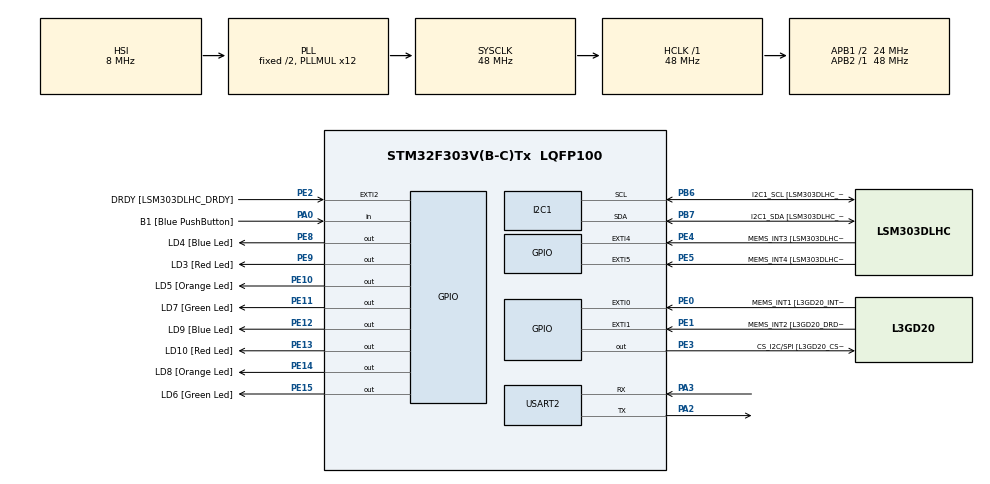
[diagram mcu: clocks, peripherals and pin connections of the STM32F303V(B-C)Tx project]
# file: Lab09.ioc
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I2C1.Timing=0x00201D2B
Mcu.Family=STM32F3
Mcu.Name=STM32F303V(B-C)Tx
Mcu.Package=LQFP100
NVIC.PriorityGroup=NVIC_PRIORITYGROUP_0
PA0.GPIO_Label=B1 [Blue PushButton]
PA0.GPIO_Mode=GPIO_MODE_INPUT
PA0.GPIO_PuPd=GPIO_NOPULL
PA0.Signal=GPIO_Input
PA11.GPIO_Label=DM
PA11.Signal=USB_DM
PA12.GPIO_Label=DP
PA12.Signal=USB_DP
PA13.GPIO_Label=SWDIO
PA13.Signal=SYS_JTMS-SWDIO
PA14.GPIO_Label=SWCLK
PA14.Signal=SYS_JTCK-SWCLK
PA2.Mode=Asynchronous
PA2.Signal=USART2_TX
PA3.Mode=Asynchronous
PA3.Signal=USART2_RX
PA5.GPIO_Label=SPI1_SCK [L3GD20_SCL/SPC]
PA5.GPIO_Mode=GPIO_MODE_AF_PP
PA5.GPIO_PuPd=GPIO_NOPULL
PA5.GPIO_Speed=GPIO_SPEED_FREQ_LOW
PA5.Signal=SPI1_SCK
PA6.GPIO_Label=SPI1_MISO [L3GD20_SA0/SDO]
PA6.GPIO_Mode=GPIO_MODE_AF_PP
PA6.GPIO_PuPd=GPIO_NOPULL
PA6.GPIO_Speed=GPIO_SPEED_FREQ_LOW
PA6.Signal=SPI1_MISO
PA7.GPIO_Label=SPI1_MISO [L3GD20_SDA/SDI/SDO]
PA7.GPIO_Mode=GPIO_MODE_AF_PP
PA7.GPIO_PuPd=GPIO_NOPULL
PA7.GPIO_Speed=GPIO_SPEED_FREQ_LOW
PA7.Signal=SPI1_MOSI
PB3.GPIO_Label=SWO
PB3.Signal=SYS_JTDO-TRACESWO
PB6.GPIO_FM6=__NULL
PB6.GPIO_Label=I2C1_SCL [LSM303DLHC_SCL]
PB6.GPIO_Mode=GPIO_MODE_AF_OD
PB6.GPIO_PuPd=GPIO_NOPULL
PB6.GPIO_Speed=GPIO_SPEED_FREQ_LOW
PB6.Mode=I2C
PB6.Signal=I2C1_SCL
PB7.GPIO_FM7=__NULL
PB7.GPIO_Label=I2C1_SDA [LSM303DLHC_SDA]
PB7.GPIO_Mode=GPIO_MODE_AF_OD
PB7.GPIO_PuPd=GPIO_NOPULL
PB7.GPIO_Speed=GPIO_SPEED_FREQ_LOW
PB7.Mode=I2C
PB7.Signal=I2C1_SDA
PC14-OSC32_IN.GPIO_Label=OSC32_IN
PC14-OSC32_IN.Signal=RCC_OSC32_IN
PC15-OSC32_OUT.GPIO_Label=OSC32_OUT
PC15-OSC32_OUT.Signal=RCC_OSC32_OUT
PE0.GPIO_Label=MEMS_INT1 [L3GD20_INT1]
PE0.GPIO_ModeDefaultEXTI=GPIO_MODE_EVT_RISING
PE0.GPIO_PuPd=GPIO_NOPULL
PE0.Signal=GPXTI0
PE1.GPIO_Label=MEMS_INT2 [L3GD20_DRDY/INT2]
PE1.GPIO_ModeDefaultEXTI=GPIO_MODE_EVT_RISING
PE1.GPIO_PuPd=GPIO_NOPULL
PE1.Signal=GPXTI1
PE10.GPIO_Label=LD5 [Orange Led]
PE10.GPIO_ModeDefaultOutputPP=GPIO_MODE_OUTPUT_PP
PE10.GPIO_PuPd=GPIO_NOPULL
PE10.GPIO_Speed=GPIO_SPEED_FREQ_LOW
PE10.Signal=GPIO_Output
PE11.GPIO_Label=LD7 [Green Led]
PE11.GPIO_ModeDefaultOutputPP=GPIO_MODE_OUTPUT_PP
PE11.GPIO_PuPd=GPIO_NOPULL
PE11.GPIO_Speed=GPIO_SPEED_FREQ_LOW
PE11.Signal=GPIO_Output
PE12.GPIO_Label=LD9 [Blue Led]
PE12.GPIO_ModeDefaultOutputPP=GPIO_MODE_OUTPUT_PP
PE12.GPIO_PuPd=GPIO_NOPULL
PE12.GPIO_Speed=GPIO_SPEED_FREQ_LOW
PE12.Signal=GPIO_Output
PE13.GPIO_Label=LD10 [Red Led]
PE13.GPIO_ModeDefaultOutputPP=GPIO_MODE_OUTPUT_PP
PE13.GPIO_PuPd=GPIO_NOPULL
PE13.GPIO_Speed=GPIO_SPEED_FREQ_LOW
PE13.Signal=GPIO_Output
PE14.GPIO_Label=LD8 [Orange Led]
PE14.GPIO_ModeDefaultOutputPP=GPIO_MODE_OUTPUT_PP
PE14.GPIO_PuPd=GPIO_NOPULL
PE14.GPIO_Speed=GPIO_SPEED_FREQ_LOW
PE14.Signal=GPIO_Output
PE15.GPIO_Label=LD6 [Green Led]
PE15.GPIO_ModeDefaultOutputPP=GPIO_MODE_OUTPUT_PP
PE15.GPIO_PuPd=GPIO_NOPULL
PE15.GPIO_Speed=GPIO_SPEED_FREQ_LOW
PE15.Signal=GPIO_Output
PE2.GPIO_Label=DRDY [LSM303DLHC_DRDY]
PE2.GPIO_ModeDefaultEXTI=GPIO_MODE_EVT_RISING
PE2.GPIO_PuPd=GPIO_NOPULL
PE2.Signal=GPXTI2
PE3.GPIO_Label=CS_I2C/SPI [L3GD20_CS_I2C/SPI]
PE3.GPIO_ModeDefaultOutputPP=GPIO_MODE_OUTPUT_PP
PE3.GPIO_PuPd=GPIO_NOPULL
PE3.GPIO_Speed=GPIO_SPEED_FREQ_LOW
PE3.Signal=GPIO_Output
PE4.GPIO_Label=MEMS_INT3 [LSM303DLHC_INT1]
PE4.GPIO_ModeDefaultEXTI=GPIO_MODE_EVT_RISING
PE4.GPIO_PuPd=GPIO_NOPULL
PE4.Signal=GPXTI4
PE5.GPIO_Label=MEMS_INT4 [LSM303DLHC_INT2]
PE5.GPIO_ModeDefaultEXTI=GPIO_MODE_EVT_RISING
PE5.GPIO_PuPd=GPIO_NOPULL
PE5.Signal=GPXTI5
PE8.GPIO_Label=LD4 [Blue Led]
PE8.GPIO_ModeDefaultOutputPP=GPIO_MODE_OUTPUT_PP
PE8.GPIO_PuPd=GPIO_NOPULL
PE8.GPIO_Speed=GPIO_SPEED_FREQ_LOW
PE8.Signal=GPIO_Output
PE9.GPIO_Label=LD3 [Red Led]
PE9.GPIO_ModeDefaultOutputPP=GPIO_MODE_OUTPUT_PP
PE9.GPIO_PuPd=GPIO_NOPULL
PE9.GPIO_Speed=GPIO_SPEED_FREQ_LOW
PE9.Signal=GPIO_Output
PF0-OSC_IN.GPIO_Label=OSC_IN
PF0-OSC_IN.Signal=RCC_OSC_IN
PF1-OSC_OUT.GPIO_Label=OSC_OUT
PF1-OSC_OUT.Signal=RCC_OSC_OUT
ProjectManager.HeapSize=0x200
ProjectManager.StackSize=0x400
ProjectManager.TargetToolchain=CMake
RCC.AHBFreq_Value=48000000
RCC.APB1CLKDivider=RCC_HCLK_DIV2
RCC.APB1Freq_Value=24000000
RCC.APB1TimFreq_Value=48000000
RCC.APB2Freq_Value=48000000
RCC.APB2TimFreq_Value=48000000
RCC.CortexFreq_Value=48000000
RCC.HCLKFreq_Value=48000000
RCC.HSE_VALUE=8000000
RCC.HSI_VALUE=8000000
RCC.LSE_VALUE=32768
RCC.PLLMUL=RCC_PLL_MUL12
RCC.SYSCLKFreq_VALUE=48000000
RCC.SYSCLKSourceVirtual=RCC_SYSCLKSOURCE_PLLCLK
RCC.USBFreq_Value=48000000
USART2.VirtualMode-Asynchronous=VM_ASYNC
board=STM32F3DISCOVERY

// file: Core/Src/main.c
/* USER CODE BEGIN Header */
/**
  ******************************************************************************
  * @file           : main.c
  * @brief          : Main program body
  ******************************************************************************
  * @attention
  *
  * Copyright (c) 2026 STMicroelectronics.
  * All rights reserved.
  *
  * This software is licensed under terms that can be found in the LICENSE file
  * in the root directory of this software component.
  * If no LICENSE file comes with this software, it is provided AS-IS.
  *
  ******************************************************************************
  */
/* USER CODE END Header */

#include "main.h"

/* USER CODE BEGIN Includes */
#include <stdio.h>
#include <string.h>
#include <math.h>
/* USER CODE END Includes */

/* USER CODE BEGIN PD */

// ── TASK 2: ACCELEROMETER ────────────────────────────────────────────────────
#define LSM303AGR_ACCEL_ADDR_READ   0x33
#define LSM303AGR_ACCEL_ADDR_WRITE  0x32
#define LSM303AGR_WHO_AM_I_REG      0x0F
#define LSM303AGR_WHO_AM_I_VAL      0x33

// Control registers
#define CTRL_REG1_A   0x20
#define CTRL_REG4_A   0x23

// Accelerometer output registers (auto-increment with bit7=1)
#define OUT_X_L_A     0xA8   // 0x28 | 0x80 for auto-increment

// Scaling
#define ACC_SCALE     3.9f        // mg per LSB in normal mode
#define RAD_TO_DEG    57.2958f
#define CALIB_SAMPLES 20

// Struct to hold all LSM data
typedef struct {
    int16_t raw_ax, raw_ay, raw_az;
    float ax, ay, az;
    float acc_offset_x, acc_offset_y, acc_offset_z;
    float angle_x, angle_y;
} LSM_Data;
// ─────────────────────────────────────────────────────────────────────────────

/* USER CODE END PD */

I2C_HandleTypeDef hi2c1;

UART_HandleTypeDef huart2;

void SystemClock_Config(void);
static void MX_GPIO_Init(void);
static void MX_I2C1_Init(void);
static void MX_USART2_UART_Init(void);

/* USER CODE BEGIN 0 */

// UART redirect
int __io_putchar(int ch)
{
    HAL_UART_Transmit(&huart2, (uint8_t *)&ch, 1, HAL_MAX_DELAY);
    return ch;
}

// ── TASK 2 FUNCTIONS ─────────────────────────────────────────────────────────

void Init_LSM(void)
{
    uint8_t val;

    // Wake up + set ODR to 100Hz, enable X Y Z axes
    val = 0x67;
    HAL_I2C_Mem_Write(&hi2c1, LSM303AGR_ACCEL_ADDR_WRITE,
                      CTRL_REG1_A, I2C_MEMADD_SIZE_8BIT,
                      &val, 1, HAL_MAX_DELAY);

    // Normal mode, ±2g
    val = 0x00;
    HAL_I2C_Mem_Write(&hi2c1, LSM303AGR_ACCEL_ADDR_WRITE,
                      CTRL_REG4_A, I2C_MEMADD_SIZE_8BIT,
                      &val, 1, HAL_MAX_DELAY);

    HAL_Delay(10);
}

void Read_LSM(LSM_Data *data)
{
    uint8_t buf[6];

    // Read all 6 bytes at once using auto-increment (bit7 set)
    HAL_I2C_Mem_Read(&hi2c1, LSM303AGR_ACCEL_ADDR_READ,
                     OUT_X_L_A, I2C_MEMADD_SIZE_8BIT,
                     buf, 6, HAL_MAX_DELAY);

    // Combine high and low bytes
    data->raw_ax = (int16_t)((buf[1] << 8) | buf[0]);
    data->raw_ay = (int16_t)((buf[3] << 8) | buf[2]);
    data->raw_az = (int16_t)((buf[5] << 8) | buf[4]);

    // Right-shift by 6 (10-bit left-justified), scale to g, subtract offset
    data->ax = ((data->raw_ax >> 6) * ACC_SCALE / 1000.0f) - data->acc_offset_x;
    data->ay = ((data->raw_ay >> 6) * ACC_SCALE / 1000.0f) - data->acc_offset_y;
    data->az = ((data->raw_az >> 6) * ACC_SCALE / 1000.0f) - data->acc_offset_z;

    // Tilt angles in degrees
    data->angle_x = atan2f(data->ay, data->az) * RAD_TO_DEG;
    data->angle_y = atan2f(-data->ax,
                    sqrtf(data->ay * data->ay + data->az * data->az)) * RAD_TO_DEG;
}

void Offset_LSM(LSM_Data *data)
{
    float sum_x = 0, sum_y = 0, sum_z = 0;
    uint8_t buf[6];

    for (int i = 0; i < CALIB_SAMPLES; i++)
    {
        HAL_I2C_Mem_Read(&hi2c1, LSM303AGR_ACCEL_ADDR_READ,
                         OUT_X_L_A, I2C_MEMADD_SIZE_8BIT,
                         buf, 6, HAL_MAX_DELAY);

        int16_t rx = (int16_t)((buf[1] << 8) | buf[0]);
        int16_t ry = (int16_t)((buf[3] << 8) | buf[2]);
        int16_t rz = (int16_t)((buf[5] << 8) | buf[4]);

        // Right-shift by 6 before scaling
        sum_x += (rx >> 6) * ACC_SCALE / 1000.0f;
        sum_y += (ry >> 6) * ACC_SCALE / 1000.0f;
        sum_z += (rz >> 6) * ACC_SCALE / 1000.0f;

        HAL_Delay(10);
    }

    data->acc_offset_x = sum_x / CALIB_SAMPLES;
    data->acc_offset_y = sum_y / CALIB_SAMPLES;
    // Z: subtract 1g since gravity acts on Z when board is flat
    data->acc_offset_z = (sum_z / CALIB_SAMPLES) - 1.0f;
}

void Print_LSM(LSM_Data *data)
{
    char msg[100];

    // Multiply by 1000 to keep 3 decimal places, cast to int
    int ax     = (int)(data->ax     * 1000);
    int ay     = (int)(data->ay     * 1000);
    int az     = (int)(data->az     * 1000);
    int angleX = (int)(data->angle_x * 100);
    int angleY = (int)(data->angle_y * 100);

    snprintf(msg, sizeof(msg),
             "Ax:%d.%03d,Ay:%d.%03d,Az:%d.%03d,AngleX:%d.%02d,AngleY:%d.%02d\r\n",
             ax/1000, ax%1000 < 0 ? -(ax%1000) : ax%1000,
             ay/1000, ay%1000 < 0 ? -(ay%1000) : ay%1000,
             az/1000, az%1000 < 0 ? -(az%1000) : az%1000,
             angleX/100, angleX%100 < 0 ? -(angleX%100) : angleX%100,
             angleY/100, angleY%100 < 0 ? -(angleY%100) : angleY%100);

    HAL_UART_Transmit(&huart2, (uint8_t*)msg, strlen(msg), HAL_MAX_DELAY);
}

// ─────────────────────────────────────────────────────────────────────────────

/* USER CODE END 0 */

int main(void)
{

  /* MCU Configuration--------------------------------------------------------*/

  /* Reset of all peripherals, Initializes the Flash interface and the Systick. */
  HAL_Init();

  /* Configure the system clock */
  SystemClock_Config();

  /* Initialize all configured peripherals */
  MX_GPIO_Init();
  MX_I2C1_Init();
  MX_USART2_UART_Init();

  /* USER CODE BEGIN 2 */

  HAL_Delay(100);

  // ── TASK 2: Initialize and calibrate accelerometer ───────────────────────
  LSM_Data lsm = {0};

  Init_LSM();

  char cal_msg[] = "Calibrating... keep board flat!\r\n";
  HAL_UART_Transmit(&huart2, (uint8_t*)cal_msg, strlen(cal_msg), HAL_MAX_DELAY);

  Offset_LSM(&lsm);

  char done_msg[] = "Calibration done!\r\n";
  HAL_UART_Transmit(&huart2, (uint8_t*)done_msg, strlen(done_msg), HAL_MAX_DELAY);
  // ─────────────────────────────────────────────────────────────────────────

  /* USER CODE END 2 */

  /* Infinite loop */
  while (1)
  {

    /* USER CODE BEGIN 3 */

    // ── TASK 2: Read and print accelerometer data ──────────────────────────
    // Calibrate when user button is pressed
    if (HAL_GPIO_ReadPin(B1_GPIO_Port, B1_Pin) == GPIO_PIN_SET)
    {
        char cal_msg2[] = "Calibrating...\r\n";
        HAL_UART_Transmit(&huart2, (uint8_t*)cal_msg2, strlen(cal_msg2), HAL_MAX_DELAY);
        Offset_LSM(&lsm);
        char done_msg2[] = "Done!\r\n";
        HAL_UART_Transmit(&huart2, (uint8_t*)done_msg2, strlen(done_msg2), HAL_MAX_DELAY);
    }

    Read_LSM(&lsm);
    Print_LSM(&lsm);
    HAL_Delay(100);
    // ───────────────────────────────────────────────────────────────────────

  }
  /* USER CODE END 3 */
}

void SystemClock_Config(void)
{
  RCC_OscInitTypeDef RCC_OscInitStruct = {0};
  RCC_ClkInitTypeDef RCC_ClkInitStruct = {0};
  RCC_PeriphCLKInitTypeDef PeriphClkInit = {0};

  RCC_OscInitStruct.OscillatorType = RCC_OSCILLATORTYPE_HSI;
  RCC_OscInitStruct.HSIState = RCC_HSI_ON;
  RCC_OscInitStruct.HSICalibrationValue = RCC_HSICALIBRATION_DEFAULT;
  RCC_OscInitStruct.PLL.PLLState = RCC_PLL_ON;
  RCC_OscInitStruct.PLL.PLLSource = RCC_PLLSOURCE_HSI;
  RCC_OscInitStruct.PLL.PLLMUL = RCC_PLL_MUL12;
  if (HAL_RCC_OscConfig(&RCC_OscInitStruct) != HAL_OK)
  {
    Error_Handler();
  }

  RCC_ClkInitStruct.ClockType = RCC_CLOCKTYPE_HCLK|RCC_CLOCKTYPE_SYSCLK
                              |RCC_CLOCKTYPE_PCLK1|RCC_CLOCKTYPE_PCLK2;
  RCC_ClkInitStruct.SYSCLKSource = RCC_SYSCLKSOURCE_PLLCLK;
  RCC_ClkInitStruct.AHBCLKDivider = RCC_SYSCLK_DIV1;
  RCC_ClkInitStruct.APB1CLKDivider = RCC_HCLK_DIV2;
  RCC_ClkInitStruct.APB2CLKDivider = RCC_HCLK_DIV1;

  if (HAL_RCC_ClockConfig(&RCC_ClkInitStruct, FLASH_LATENCY_1) != HAL_OK)
  {
    Error_Handler();
  }
  PeriphClkInit.PeriphClockSelection = RCC_PERIPHCLK_USART2|RCC_PERIPHCLK_I2C1;
  PeriphClkInit.Usart2ClockSelection = RCC_USART2CLKSOURCE_PCLK1;
  PeriphClkInit.I2c1ClockSelection = RCC_I2C1CLKSOURCE_HSI;
  if (HAL_RCCEx_PeriphCLKConfig(&PeriphClkInit) != HAL_OK)
  {
    Error_Handler();
  }
}

static void MX_I2C1_Init(void)
{
  hi2c1.Instance = I2C1;
  hi2c1.Init.Timing = 0x00201D2B;
  hi2c1.Init.OwnAddress1 = 0;
  hi2c1.Init.AddressingMode = I2C_ADDRESSINGMODE_7BIT;
  hi2c1.Init.DualAddressMode = I2C_DUALADDRESS_DISABLE;
  hi2c1.Init.OwnAddress2 = 0;
  hi2c1.Init.OwnAddress2Masks = I2C_OA2_NOMASK;
  hi2c1.Init.GeneralCallMode = I2C_GENERALCALL_DISABLE;
  hi2c1.Init.NoStretchMode = I2C_NOSTRETCH_DISABLE;
  if (HAL_I2C_Init(&hi2c1) != HAL_OK)
  {
    Error_Handler();
  }
  if (HAL_I2CEx_ConfigAnalogFilter(&hi2c1, I2C_ANALOGFILTER_ENABLE) != HAL_OK)
  {
    Error_Handler();
  }
  if (HAL_I2CEx_ConfigDigitalFilter(&hi2c1, 0) != HAL_OK)
  {
    Error_Handler();
  }
}

static void MX_USART2_UART_Init(void)
{
  huart2.Instance = USART2;
  huart2.Init.BaudRate = 115200;
  huart2.Init.WordLength = UART_WORDLENGTH_8B;
  huart2.Init.StopBits = UART_STOPBITS_1;
  huart2.Init.Parity = UART_PARITY_NONE;
  huart2.Init.Mode = UART_MODE_TX_RX;
  huart2.Init.HwFlowCtl = UART_HWCONTROL_NONE;
  huart2.Init.OverSampling = UART_OVERSAMPLING_16;
  huart2.Init.OneBitSampling = UART_ONE_BIT_SAMPLE_DISABLE;
  huart2.AdvancedInit.AdvFeatureInit = UART_ADVFEATURE_NO_INIT;
  if (HAL_UART_Init(&huart2) != HAL_OK)
  {
    Error_Handler();
  }
}

static void MX_GPIO_Init(void)
{
  GPIO_InitTypeDef GPIO_InitStruct = {0};

  __HAL_RCC_GPIOE_CLK_ENABLE();
  __HAL_RCC_GPIOC_CLK_ENABLE();
  __HAL_RCC_GPIOF_CLK_ENABLE();
  __HAL_RCC_GPIOA_CLK_ENABLE();
  __HAL_RCC_GPIOB_CLK_ENABLE();

  HAL_GPIO_WritePin(GPIOE, CS_I2C_SPI_Pin|LD4_Pin|LD3_Pin|LD5_Pin
                          |LD7_Pin|LD9_Pin|LD10_Pin|LD8_Pin
                          |LD6_Pin, GPIO_PIN_RESET);

  GPIO_InitStruct.Pin = DRDY_Pin|MEMS_INT3_Pin|MEMS_INT4_Pin|MEMS_INT1_Pin
                          |MEMS_INT2_Pin;
  GPIO_InitStruct.Mode = GPIO_MODE_EVT_RISING;
  GPIO_InitStruct.Pull = GPIO_NOPULL;
  HAL_GPIO_Init(GPIOE, &GPIO_InitStruct);

  GPIO_InitStruct.Pin = CS_I2C_SPI_Pin|LD4_Pin|LD3_Pin|LD5_Pin
                          |LD7_Pin|LD9_Pin|LD10_Pin|LD8_Pin
                          |LD6_Pin;
  GPIO_InitStruct.Mode = GPIO_MODE_OUTPUT_PP;
  GPIO_InitStruct.Pull = GPIO_NOPULL;
  GPIO_InitStruct.Speed = GPIO_SPEED_FREQ_LOW;
  HAL_GPIO_Init(GPIOE, &GPIO_InitStruct);

  GPIO_InitStruct.Pin = B1_Pin;
  GPIO_InitStruct.Mode = GPIO_MODE_INPUT;
  GPIO_InitStruct.Pull = GPIO_NOPULL;
  HAL_GPIO_Init(B1_GPIO_Port, &GPIO_InitStruct);

  GPIO_InitStruct.Pin = SPI1_SCK_Pin|SPI1_MISO_Pin|SPI1_MISOA7_Pin;
  GPIO_InitStruct.Mode = GPIO_MODE_AF_PP;
  GPIO_InitStruct.Pull = GPIO_NOPULL;
  GPIO_InitStruct.Speed = GPIO_SPEED_FREQ_LOW;
  GPIO_InitStruct.Alternate = GPIO_AF5_SPI1;
  HAL_GPIO_Init(GPIOA, &GPIO_InitStruct);

  GPIO_InitStruct.Pin = DM_Pin|DP_Pin;
  GPIO_InitStruct.Mode = GPIO_MODE_AF_PP;
  GPIO_InitStruct.Pull = GPIO_NOPULL;
  GPIO_InitStruct.Speed = GPIO_SPEED_FREQ_HIGH;
  GPIO_InitStruct.Alternate = GPIO_AF14_USB;
  HAL_GPIO_Init(GPIOA, &GPIO_InitStruct);

  GPIO_InitStruct.Pin = I2C1_SCL_Pin|I2C1_SDA_Pin;
  GPIO_InitStruct.Mode = GPIO_MODE_AF_OD;
  GPIO_InitStruct.Pull = GPIO_NOPULL;
  GPIO_InitStruct.Speed = GPIO_SPEED_FREQ_LOW;
  GPIO_InitStruct.Alternate = GPIO_AF4_I2C1;
  HAL_GPIO_Init(GPIOB, &GPIO_InitStruct);
}

void Error_Handler(void)
{
  __disable_irq();
  while (1)
  {
  }
}
